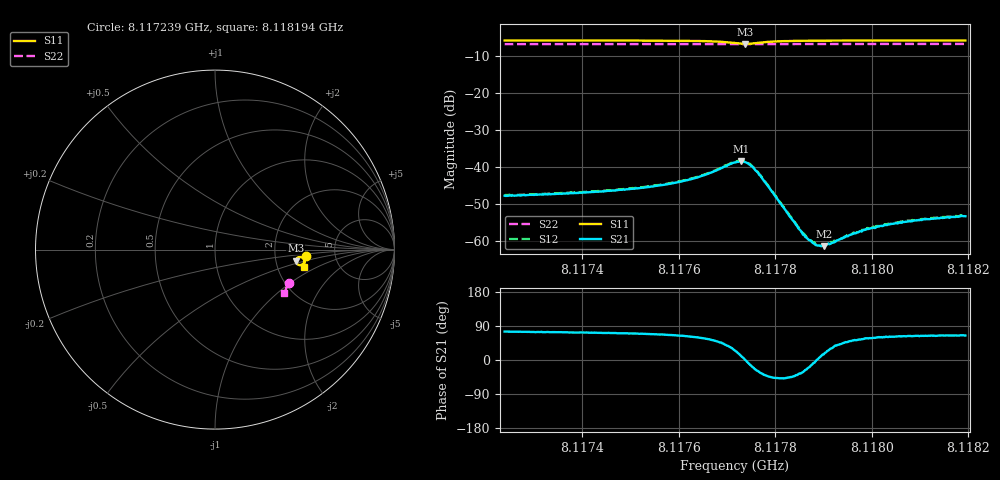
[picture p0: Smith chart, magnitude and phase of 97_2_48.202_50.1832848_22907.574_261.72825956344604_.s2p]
#  HZ  S  RI  R  50.00
! Rohde & Schwarz Vector Network Analyzer
! Rohde-Schwarz,ZNB20-2Port,1311601062101988,3.16
! Created: UTC 3/20/2024, 11:40:20 AM
! freq[Hz]  re:S11  im:S11  re:S21  im:S21  re:S12  im:S12  re:S22  im:S22
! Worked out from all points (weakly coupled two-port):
!   401 points, 8.117239 GHz to 8.118194 GHz, reference 50 ohm
!   highest |S21| = -38.43 dB at 8.117728 GHz (marker M1); lowest = -61.3 dB at 8.1179 GHz (marker M2)
!   lowest |S11| = -6.9 dB at 8.117738 GHz (marker M3), VSWR 2.67, Z = 130 - j20.2 ohm
!   |S11| at or under -10 dB: nowhere
!   |S22| runs from -6.9 to -6.9 dB; largest |S21 - S12| = 0.00047
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8.1172388e9  0.5043 -0.0359  0.00106 0.00397  0.00113 0.004  0.4114 -0.1853
8.1173988e9  0.5027 -0.0495  0.00134 0.00431  0.00141 0.00432  0.4072 -0.1957
8.1174633e9  0.5015 -0.0558  0.00156 0.00457  0.0016 0.00461  0.4053 -0.1998
8.1175588e9  0.4987 -0.066  0.00217 0.00521  0.00225 0.00527  0.4025 -0.206
8.1176018e9  0.4962 -0.0718  0.00274 0.00567  0.00284 0.00576  0.4011 -0.2088
8.1176376e9  0.4922 -0.0778  0.00358 0.00625  0.00378 0.00632  0.4 -0.2111
8.1176639e9  0.4866 -0.0826  0.00483 0.00673  0.00496 0.00676  0.3987 -0.2128
8.1177164e9  0.459 -0.082  0.0105 0.00482  0.0108 0.00481  0.396 -0.2156
8.1177283e9  0.4517 -0.0723  0.0117 0.00244  0.0119 0.00228  0.3956 -0.2158
8.1177379e9  0.4502 -0.0617  0.0116 -9.2e-05  0.0118 -0.000151  0.3953 -0.2159
8.1177522e9  0.4572 -0.0473  0.0096 -0.00316  0.00974 -0.00325  0.3953 -0.2163
8.1177665e9  0.4693 -0.0413  0.00669 -0.00414  0.0068 -0.00432  0.3955 -0.2169
8.1178525e9  0.4967 -0.0594  0.00113 -0.000811  0.00115 -0.000807  0.3939 -0.2233
8.117862e9  0.4971 -0.0612  0.00103 -0.000508  0.00107 -0.000561  0.3937 -0.2238
8.1178764e9  0.4978 -0.0637  0.000945 -0.000194  0.000965 -0.000197  0.3932 -0.2247
8.1178883e9  0.498 -0.0657  0.000871 3.65e-05  0.00091 3.09e-05  0.3928 -0.2255
8.1179002e9  0.4984 -0.0674  0.000834 0.000218  0.000859 0.000261  0.3924 -0.2264
8.117917e9  0.4983 -0.0698  0.000814 0.000485  0.000814 0.000525  0.3918 -0.2274
8.1179766e9  0.4983 -0.0769  0.0008 0.0011  0.000813 0.00113  0.3899 -0.2312
8.1180363e9  0.4977 -0.083  0.000798 0.00149  0.000831 0.00149  0.388 -0.2351
8.1181104e9  0.4969 -0.0897  0.000864 0.00177  0.000881 0.00181  0.3854 -0.2394
8.1181939e9  0.4955 -0.0968  0.00093 0.00196  0.000941 0.00204  0.3825 -0.2446
